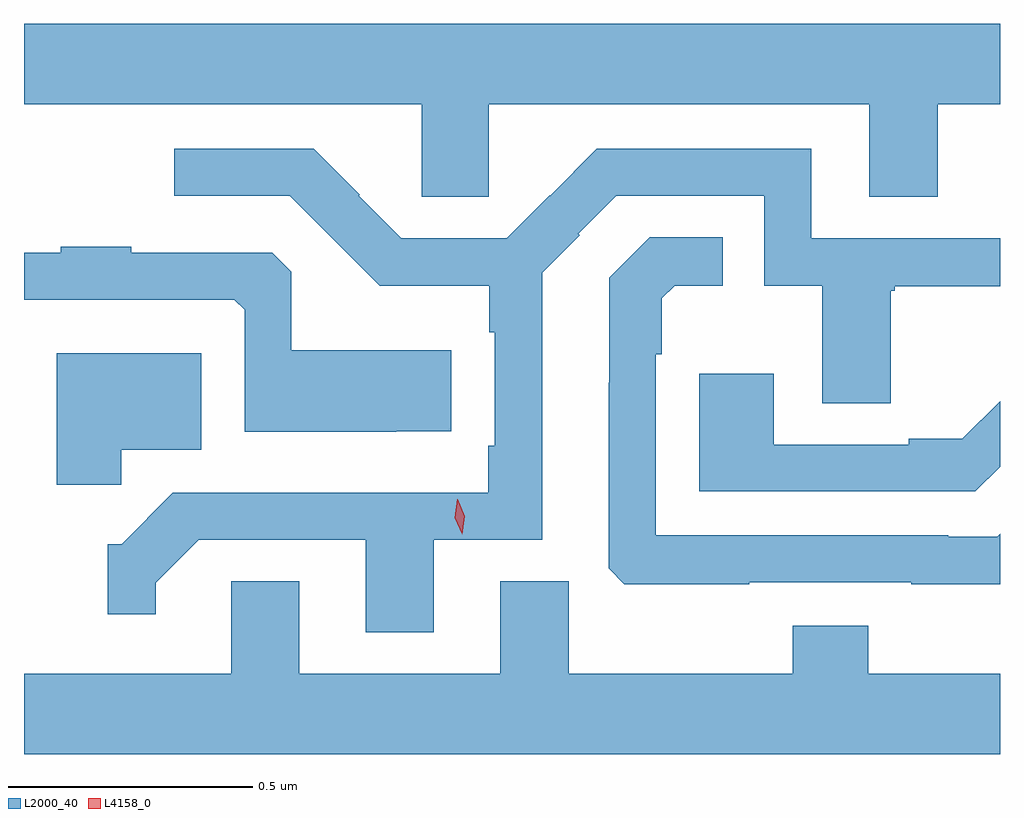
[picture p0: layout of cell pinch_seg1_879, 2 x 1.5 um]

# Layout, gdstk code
import gdstk
lib = gdstk.Library(unit=1e-6, precision=1e-09)
def P(c, l, *ps):  # polygons
    for p in ps: c.add(gdstk.Polygon(p, *l))
L2000_40 = (2000, 40)
L4158_0 = (4158, 0)

pinch_seg1_879 = lib.new_cell('pinch_seg1_879')
P(pinch_seg1_879, L2000_40, [(433.301,533.084),(434.081,533.084),(434.081,532.894),(434.221,532.894),(434.221,533.084),(434.349,533.084),(434.349,533.248),(432.349,533.248),(432.349,533.084),(433.164,533.084),(433.164,532.894),(433.301,532.894)],
  [(433.189,532.191),(433.411,532.191),(433.411,532.738),(433.488,532.815),(433.485,532.818),(433.563,532.896),(433.866,532.896),(433.866,532.712),(433.985,532.712),(433.985,532.471),(434.125,532.471),(434.125,532.701),(434.133,532.701),(434.133,532.711),(434.349,532.711),(434.349,532.809),(433.962,532.809),(433.962,532.992),(433.523,532.992),(433.427,532.896),(433.426,532.897),(433.338,532.809),(433.122,532.809),(433.035,532.896),(433.037,532.898),(432.943,532.992),(432.657,532.992),(432.657,532.896),(432.894,532.896),(433.078,532.712),(433.302,532.712),(433.302,532.616),(433.314,532.616),(433.314,532.384),(433.3,532.384),(433.3,532.287),(432.654,532.287),(432.549,532.182),(432.521,532.182),(432.521,532.038),(432.619,532.038),(432.619,532.103),(432.707,532.191),(433.049,532.191),(433.049,532.002),(433.189,532.002)],
  [(433.835,532.104),(434.167,532.104),(434.167,532.1),(434.349,532.1),(434.349,532.203),(434.343,532.197),(434.243,532.197),(434.243,532.2),(433.644,532.2),(433.644,532.571),(433.656,532.571),(433.656,532.686),(433.682,532.712),(433.781,532.712),(433.781,532.811),(433.631,532.811),(433.548,532.728),(433.548,532.513),(433.547,532.513),(433.547,532.133),(433.579,532.1),(433.835,532.1)],
  [(433.112,532.413),(433.225,532.413),(433.225,532.579),(432.897,532.579),(432.897,532.74),(432.858,532.779),(432.569,532.779),(432.569,532.792),(432.424,532.792),(432.424,532.779),(432.349,532.779),(432.349,532.683),(432.78,532.683),(432.801,532.662),(432.801,532.412),(433.112,532.412)],
  [(432.548,532.376),(432.712,532.376),(432.712,532.573),(432.416,532.573),(432.416,532.304),(432.548,532.304)],
  [(434.349,532.341),(434.349,532.475),(434.272,532.398),(434.162,532.398),(434.162,532.386),(433.885,532.386),(433.885,532.531),(433.733,532.531),(433.733,532.29),(434.298,532.29)],
  [(434.349,531.916),(434.079,531.916),(434.079,532.015),(433.924,532.015),(433.924,531.916),(433.465,531.916),(433.465,532.106),(433.325,532.106),(433.325,531.916),(432.913,531.916),(432.913,532.106),(432.774,532.106),(432.774,531.916),(432.349,531.916),(432.349,531.752),(434.349,531.752)])
P(pinch_seg1_879, L4158_0, [(433.247,532.202),(433.247,532.202),(433.232,532.236),(433.237,532.274),(433.238,532.274),(433.238,532.274),(433.252,532.239),(433.247,532.202)])

lib.write_gds('pinch_seg1_879.gds')
